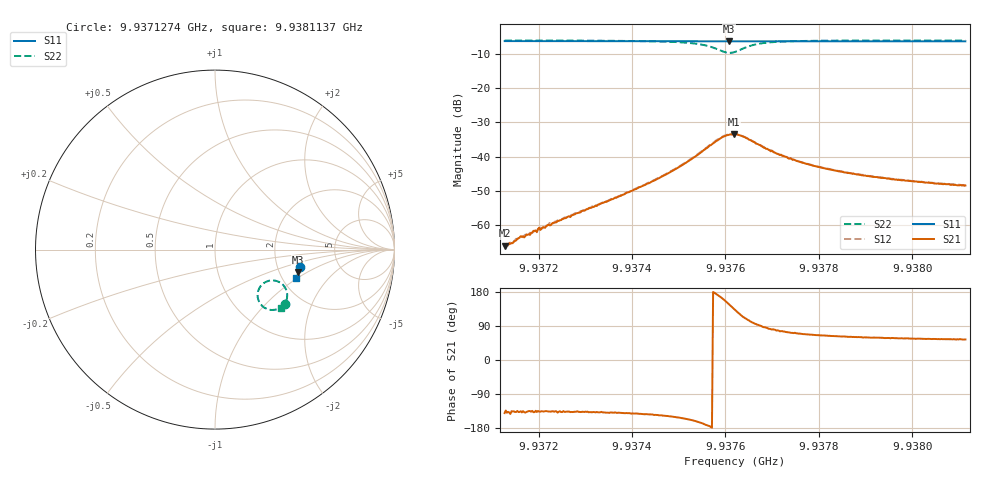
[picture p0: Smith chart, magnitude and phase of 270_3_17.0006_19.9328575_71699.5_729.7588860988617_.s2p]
#  HZ  S  RI  R  50.00
! Rohde & Schwarz Vector Network Analyzer
! Rohde-Schwarz,ZNB20-2Port,1311601062101988,3.16
! Created: UTC 3/20/2024, 11:04:10 PM
! freq[Hz]  re:S11  im:S11  re:S21  im:S21  re:S12  im:S12  re:S22  im:S22
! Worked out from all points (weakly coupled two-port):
!   401 points, 9.9371274 GHz to 9.9381137 GHz, reference 50 ohm
!   highest |S21| = -33.42 dB at 9.9376181 GHz (marker M1); lowest = -66.0 dB at 9.9371274 GHz (marker M2)
!   lowest |S11| = -6.4 dB at 9.9376082 GHz (marker M3), VSWR 2.84, Z = 126 - j41.6 ohm
!   |S11| at or under -10 dB: nowhere
!   |S22| runs from -9.7 to -6.1 dB; largest |S21 - S12| = 0.001
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9.93712736e9  0.4747 -0.0957  -0.000383 -0.000322  -0.000358 -0.00034  0.3915 -0.3025
9.93713969e9  0.4744 -0.0966  -0.000423 -0.000326  -0.000422 -0.000368  0.3907 -0.3035
9.93715941e9  0.474 -0.098  -0.000483 -0.000447  -0.000502 -0.000421  0.3891 -0.3048
9.93717667e9  0.4738 -0.0991  -0.000519 -0.000501  -0.00057 -0.000482  0.3877 -0.3061
9.937189e9  0.4734 -0.1  -0.000611 -0.000556  -0.000572 -0.00055  0.3867 -0.3071
9.93722353e9  0.4728 -0.1022  -0.000717 -0.000692  -0.000778 -0.000746  0.384 -0.3097
9.93729257e9  0.4715 -0.107  -0.00117 -0.0011  -0.0012 -0.00108  0.3769 -0.3157
9.93737394e9  0.4698 -0.1124  -0.00201 -0.00173  -0.00207 -0.0017  0.3651 -0.3236
9.93745778e9  0.4679 -0.1182  -0.00401 -0.0027  -0.00416 -0.00271  0.344 -0.333
9.93750957e9  0.4664 -0.1217  -0.00688 -0.00338  -0.00706 -0.00334  0.3177 -0.3365
9.93755395e9  0.4648 -0.1246  -0.0123 -0.0024  -0.0125 -0.00233  0.2747 -0.3233
9.93758601e9  0.4634 -0.1261  -0.0175 0.00321  -0.0179 0.00369  0.2389 -0.2706
9.9376082e9  0.4627 -0.1267  -0.0174 0.0115  -0.0174 0.0124  0.253 -0.2053
9.93761807e9  0.4626 -0.1269  -0.0151 0.015  -0.0147 0.0157  0.2777 -0.1831
9.93762053e9  0.4626 -0.127  -0.0142 0.0158  -0.0139 0.0163  0.2847 -0.1793
9.93763779e9  0.4631 -0.1277  -0.00787 0.018  -0.00759 0.0183  0.3355 -0.1731
9.93767478e9  0.4632 -0.1303  -0.000135 0.0146  0.000367 0.0148  0.3918 -0.2138
9.93772903e9  0.4624 -0.1343  0.00274 0.00959  0.00296 0.00947  0.4024 -0.2596
9.93778574e9  0.4612 -0.1383  0.00295 0.00682  0.00312 0.00684  0.3977 -0.2834
9.93785972e9  0.4595 -0.1434  0.00277 0.00512  0.00292 0.00511  0.3904 -0.3001
9.93795096e9  0.4571 -0.1493  0.00254 0.00406  0.00262 0.00401  0.3824 -0.3126
9.93811371e9  0.453 -0.1599  0.00222 0.00308  0.00227 0.00308  0.3704 -0.3271
